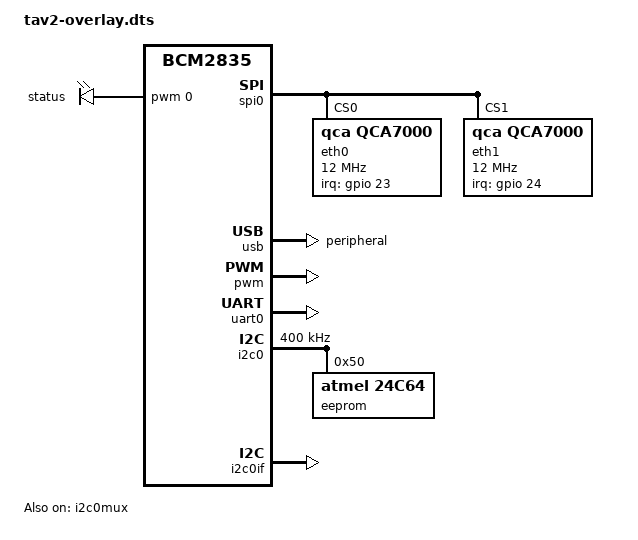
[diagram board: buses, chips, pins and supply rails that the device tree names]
/dts-v1/;
/plugin/;

/ {
	compatible = "brcm,bcm2835";

	fragment@0 {
		target = <&spidev0>;
		__overlay__ {
			status = "disabled";
		};
	};

	fragment@1 {
		target = <&spidev1>;
		__overlay__ {
			status = "disabled";
		};
	};

	fragment@2 {
		target = <&spi0>;
		__overlay__ {
			/* needed to avoid dtc warning */
			#address-cells = <1>;
			#size-cells = <0>;
			status = "okay";

			eth0: qca7000@0 {
				compatible = "qca,qca7000";
				reg = <0>; /* CE0 */
				pinctrl-names = "default";
				pinctrl-0 = <&eth0_pins>;
				interrupt-parent = <&gpio>;
				interrupts = <23 0x1>; /* rising edge */
				spi-max-frequency = <12000000>;
				status = "okay";
			};

			eth1: qca7000@1 {
				compatible = "qca,qca7000";
				reg = <1>; /* CE1 */
				pinctrl-names = "default";
				pinctrl-0 = <&eth1_pins>;
				interrupt-parent = <&gpio>;
				interrupts = <24 0x1>; /* rising edge */
				spi-max-frequency = <12000000>;
				status = "okay";
			};
		};
	};

	fragment@3 {
		target = <&gpio>;
		__overlay__ {
			eth0_pins: eth0_pins {
				brcm,pins = <23>;
				brcm,function = <0>; /* in */
				brcm,pull = <0>; /* none */
			};

			eth1_pins: eth1_pins {
				brcm,pins = <24>;
				brcm,function = <0>; /* in */
				brcm,pull = <0>; /* none */
			};

			spi1_pins: spi1_pins {
				brcm,pins = <19 20 21>;
				brcm,function = <3>; /* alt4 */
			};

			spi1_cs_pins: spi1_cs_pins {
				brcm,pins = <18>;
				brcm,function = <1>; /* output */
			};

			uart0_pins: uart0_pins {
				brcm,pins = <14 15>;
				brcm,function = <4>; /* alt0 */
				brcm,pull = <0 2>;
			};

			pwm_pins: pwm_pins {
				brcm,pins = <12>;
				brcm,function = <4>; /* alt0 */
			};
		};
	};

	fragment@4 {
		target = <&usb>;
		#address-cells = <1>;
		#size-cells = <1>;
		dwc2_usb: __overlay__ {
			compatible = "brcm,bcm2835-usb";
			dr_mode = "peripheral";
			g-np-tx-fifo-size = <32>;
			g-rx-fifo-size = <558>;
			g-tx-fifo-size = <512 512 512 512 512 256 256>;
			status = "okay";
		};
	};

	fragment@5 {
		target = <&act_led>;
		__overlay__ {
			linux,default-trigger = "heartbeat";
		};
	};

	fragment@6 {
		target = <&pwm>;
		__overlay__ {
			pinctrl-names = "default";
			pinctrl-0 = <&pwm_pins>;
			assigned-clock-rates = <100000000>;
			status = "okay";
		};
	};

	fragment@7 {
		target-path = "/";
		__overlay__ {
			pwmleds {
				compatible = "pwm-leds";
				status {
					label = "status";
					pwms = <&pwm 0 5000>;
					max-brightness = <255>;
					linux,default-trigger = "timer";
				};
			};
		};
	};

	fragment@8 {
		target = <&uart0>;
		__overlay__ {
			pinctrl-names = "default";
			pinctrl-0 = <&uart0_pins>;
			status = "okay";
		};
	};

	fragment@9 {
		target-path = "/aliases";
		__overlay__ {
			serial0 = "/soc/serial@7e201000";
			serial1 = "/soc/serial@7e215040";
		};
	};

    fragment@10 {
		target = <&i2c0>;
		__overlay__ {
			clock-frequency = <400000>;

			eeprom@50 {
				compatible = "atmel,24c64";
				reg = <0x50>;
				pagesize = <32>;
			};
		};
	};

	fragment@11 {
		target = <&i2c0if>;
		__overlay__ {
			status = "okay";
		};
	};

	fragment@12 {
		target = <&i2c0mux>;
		__overlay__ {
			status = "okay";
		};
	};
};
